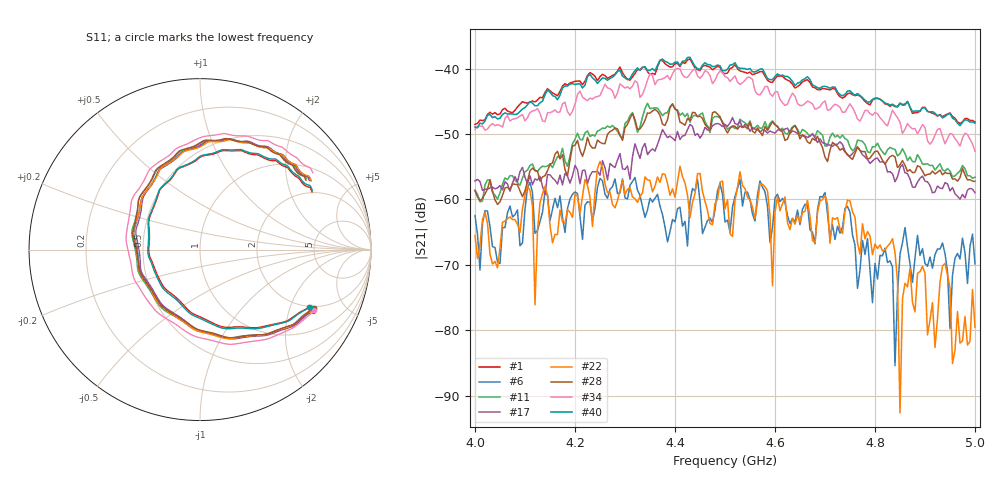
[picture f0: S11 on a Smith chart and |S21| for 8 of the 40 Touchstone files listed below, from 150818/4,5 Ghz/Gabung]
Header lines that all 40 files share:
# Hz S RI R 50
! CMT, C1220, 16058040, 17.2.0/1
! Data: Format (Calibration Info)
! Freq  S11: Re/Im (F2)  S21: Re/Im (F2)  S12: Re/Im (F2)  S22: Re/Im (F2)
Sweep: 4 GHz to 5 GHz
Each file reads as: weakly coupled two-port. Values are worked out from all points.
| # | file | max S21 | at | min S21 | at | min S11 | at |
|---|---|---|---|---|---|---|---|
| 1 | Sudut_230_Titik_8.s2p | -38.53 dB | 4.43 GHz | -48.5 dB | 4 GHz | -10.8 dB | 4.315 GHz |
| 2 | Sudut_240_Titik_2.s2p | -38.90 dB | 4.37 GHz | -49.5 dB | 4 GHz | -10.8 dB | 4.315 GHz |
| 3 | Sudut_240_Titik_3.s2p | -46.81 dB | 4.515 GHz | -63.3 dB | 4.175 GHz | -8.9 dB | 4.36 GHz |
| 4 | Sudut_240_Titik_4.s2p | -54.37 dB | 4.545 GHz | -75.4 dB | 4.34 GHz | -8.8 dB | 4.36 GHz |
| 5 | Sudut_240_Titik_5.s2p | -49.79 dB | 4.34 GHz | -74.1 dB | 4.97 GHz | -8.7 dB | 4.36 GHz |
| 6 | Sudut_240_Titik_6.s2p | -56.65 dB | 4.32 GHz | -85.4 dB | 4.84 GHz | -8.8 dB | 4.36 GHz |
| 7 | Sudut_240_Titik_9.s2p | -40.40 dB | 4.44 GHz | -54.0 dB | 5 GHz | -7.6 dB | 4.36 GHz |
| 8 | Sudut_250_Titik_3.s2p | -47.07 dB | 4.43 GHz | -65.0 dB | 4.135 GHz | -9.0 dB | 4.36 GHz |
| 9 | Sudut_250_Titik_4.s2p | -55.09 dB | 4.545 GHz | -76.6 dB | 4.34 GHz | -8.7 dB | 4.36 GHz |
| 10 | Sudut_250_Titik_5.s2p | -48.04 dB | 4.295 GHz | -81.0 dB | 4.97 GHz | -8.6 dB | 4.36 GHz |
| 11 | Sudut_250_Titik_7.s2p | -45.32 dB | 4.345 GHz | -60.4 dB | 4.01 GHz | -8.5 dB | 4.36 GHz |
| 12 | Sudut_250_Titik_9.s2p | -39.89 dB | 4.44 GHz | -52.7 dB | 5 GHz | -7.6 dB | 4.36 GHz |
| 13 | Sudut_260_Titik_5.s2p | -47.38 dB | 4.25 GHz | -87.8 dB | 4.995 GHz | -8.6 dB | 4.36 GHz |
| 14 | Sudut_260_Titik_7.s2p | -46.35 dB | 4.395 GHz | -60.6 dB | 4.045 GHz | -8.7 dB | 4.36 GHz |
| 15 | Sudut_270_Titik_2.s2p | -39.63 dB | 4.425 GHz | -51.8 dB | 4 GHz | -10.8 dB | 4.315 GHz |
| 16 | Sudut_270_Titik_7.s2p | -46.51 dB | 4.395 GHz | -62.0 dB | 4.045 GHz | -8.7 dB | 4.36 GHz |
| 17 | Sudut_280_Titik_3.s2p | -47.49 dB | 4.515 GHz | -60.0 dB | 4.97 GHz | -9.0 dB | 4.36 GHz |
| 18 | Sudut_280_Titik_4.s2p | -56.01 dB | 4.25 GHz | -82.3 dB | 4.34 GHz | -8.6 dB | 4.36 GHz |
| 19 | Sudut_280_Titik_5.s2p | -47.88 dB | 4.34 GHz | -78.8 dB | 4.965 GHz | -8.7 dB | 4.36 GHz |
| 20 | Sudut_290_Titik_4.s2p | -55.16 dB | 4.28 GHz | -75.0 dB | 4.99 GHz | -8.8 dB | 4.36 GHz |
| 21 | Sudut_290_Titik_5.s2p | -47.86 dB | 4.34 GHz | -74.8 dB | 4.87 GHz | -8.7 dB | 4.36 GHz |
| 22 | Sudut_290_Titik_6.s2p | -54.20 dB | 4.25 GHz | -92.6 dB | 4.85 GHz | -8.7 dB | 4.36 GHz |
| 23 | Sudut_290_Titik_7.s2p | -45.29 dB | 4.395 GHz | -62.4 dB | 4.045 GHz | -8.7 dB | 4.36 GHz |
| 24 | Sudut_300_Titik_1.s2p | -38.87 dB | 4.4 GHz | -51.5 dB | 5 GHz | -7.7 dB | 4.36 GHz |
| 25 | Sudut_300_Titik_2.s2p | -39.88 dB | 4.43 GHz | -50.6 dB | 4 GHz | -10.8 dB | 4.315 GHz |
| 26 | Sudut_300_Titik_5.s2p | -48.61 dB | 4.255 GHz | -71.1 dB | 4.995 GHz | -8.8 dB | 4.365 GHz |
| 27 | Sudut_300_Titik_6.s2p | -55.29 dB | 4.25 GHz | -83.5 dB | 4.955 GHz | -8.7 dB | 4.36 GHz |
| 28 | Sudut_300_Titik_7.s2p | -45.39 dB | 4.395 GHz | -60.8 dB | 4.045 GHz | -8.7 dB | 4.36 GHz |
| 29 | Sudut_310_Titik_6.s2p | -55.08 dB | 4.53 GHz | -78.3 dB | 4.95 GHz | -8.8 dB | 4.36 GHz |
| 30 | Sudut_320_Titik_2.s2p | -38.91 dB | 4.425 GHz | -50.0 dB | 4 GHz | -10.7 dB | 4.315 GHz |
| 31 | Sudut_320_Titik_4.s2p | -54.68 dB | 4.23 GHz | -91.0 dB | 4.985 GHz | -9.1 dB | 4.36 GHz |
| 32 | Sudut_320_Titik_6.s2p | -54.32 dB | 4.365 GHz | -77.3 dB | 4.12 GHz | -8.9 dB | 4.36 GHz |
| 33 | Sudut_320_Titik_8.s2p | -38.91 dB | 4.425 GHz | -50.0 dB | 4 GHz | -10.7 dB | 4.315 GHz |
| 34 | Sudut_320_Titik_9.s2p | -39.99 dB | 4.405 GHz | -52.7 dB | 5 GHz | -7.7 dB | 4.36 GHz |
| 35 | Sudut_330_Titik_3.s2p | -45.01 dB | 4.43 GHz | -57.5 dB | 4.02 GHz | -8.9 dB | 4.36 GHz |
| 36 | Sudut_330_Titik_5.s2p | -49.49 dB | 4.37 GHz | -70.1 dB | 5 GHz | -8.5 dB | 4.36 GHz |
| 37 | Sudut_330_Titik_7.s2p | -44.22 dB | 4.395 GHz | -58.2 dB | 4.01 GHz | -8.5 dB | 4.36 GHz |
| 38 | Sudut_330_Titik_8.s2p | -38.47 dB | 4.43 GHz | -49.6 dB | 4 GHz | -10.6 dB | 4.315 GHz |
| 39 | Sudut_330_Titik_9.s2p | -40.74 dB | 4.4 GHz | -53.4 dB | 5 GHz | -7.7 dB | 4.36 GHz |
| 40 | Sudut_340_Titik_2.s2p | -38.28 dB | 4.43 GHz | -49.1 dB | 4.005 GHz | -10.6 dB | 4.315 GHz |
